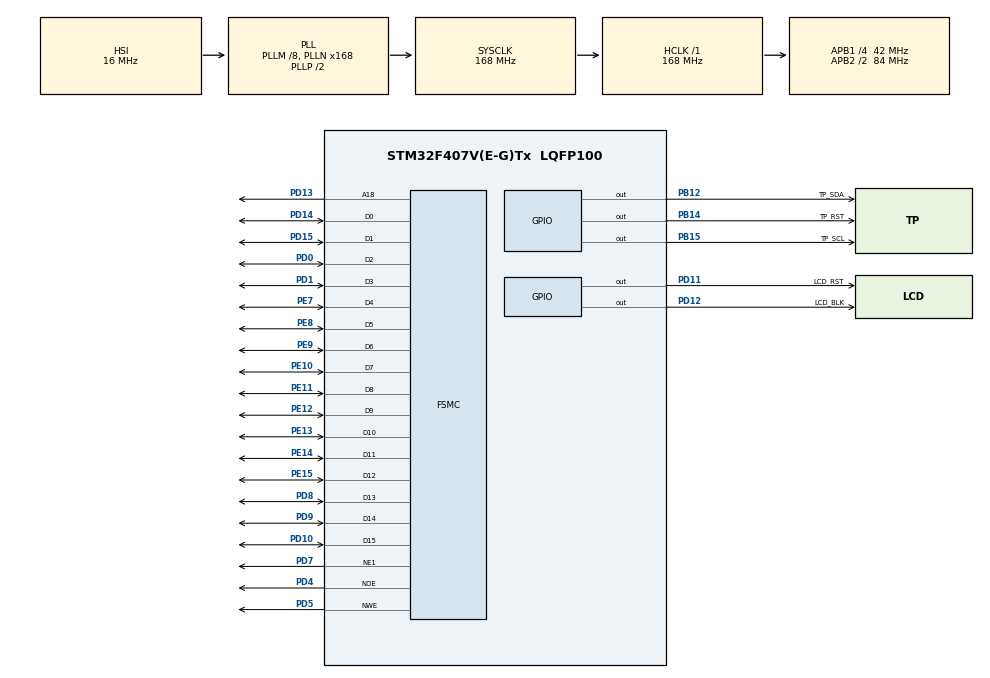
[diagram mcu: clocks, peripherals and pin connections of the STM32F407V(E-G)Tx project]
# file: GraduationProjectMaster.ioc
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Dma.MEMTOMEM.0.Direction=DMA_MEMORY_TO_MEMORY
Dma.MEMTOMEM.0.FIFOMode=DMA_FIFOMODE_ENABLE
Dma.MEMTOMEM.0.FIFOThreshold=DMA_FIFO_THRESHOLD_FULL
Dma.MEMTOMEM.0.Instance=DMA2_Stream0
Dma.MEMTOMEM.0.MemBurst=DMA_MBURST_INC8
Dma.MEMTOMEM.0.MemDataAlignment=DMA_MDATAALIGN_HALFWORD
Dma.MEMTOMEM.0.MemInc=DMA_MINC_DISABLE
Dma.MEMTOMEM.0.Mode=DMA_NORMAL
Dma.MEMTOMEM.0.PeriphBurst=DMA_PBURST_INC8
Dma.MEMTOMEM.0.PeriphDataAlignment=DMA_PDATAALIGN_HALFWORD
Dma.MEMTOMEM.0.PeriphInc=DMA_PINC_ENABLE
Dma.MEMTOMEM.0.Priority=DMA_PRIORITY_LOW
Dma.Request0=MEMTOMEM
FREERTOS.Tasks01=defaultTask,24,512,StartDefaultTask,Default,NULL,Dynamic,NULL,NULL
FSMC.AddressSetupTime1=15
FSMC.BusTurnAroundDuration1=0
FSMC.DataSetupTime1=60
FSMC.ExtendedAddressSetupTime1=9
FSMC.ExtendedBusTurnAroundDuration1=0
FSMC.ExtendedDataSetupTime1=8
FSMC.ExtendedMode1=FSMC_EXTENDED_MODE_ENABLE
Mcu.Family=STM32F4
Mcu.Name=STM32F407V(E-G)Tx
Mcu.Package=LQFP100
NVIC.PriorityGroup=NVIC_PRIORITYGROUP_4
NVIC.TIM8_TRG_COM_TIM14_IRQn=true\:15\:0\:false\:false\:true\:false\:false\:true\:true
NVIC.TimeBase=TIM8_TRG_COM_TIM14_IRQn
NVIC.TimeBaseIP=TIM14
PA13.Mode=Serial_Wire
PA13.Signal=SYS_JTMS-SWDIO
PA14.Mode=Serial_Wire
PA14.Signal=SYS_JTCK-SWCLK
PB12.GPIO_Label=TP_SDA
PB12.GPIO_ModeDefaultOutputPP=GPIO_MODE_OUTPUT_PP
PB12.GPIO_PuPd=GPIO_NOPULL
PB12.GPIO_Speed=GPIO_SPEED_FREQ_VERY_HIGH
PB12.Signal=GPIO_Output
PB14.GPIO_Label=TP_RST
PB14.GPIO_Speed=GPIO_SPEED_FREQ_VERY_HIGH
PB14.Signal=GPIO_Output
PB15.GPIO_Label=TP_SCL
PB15.GPIO_Speed=GPIO_SPEED_FREQ_VERY_HIGH
PB15.Signal=GPIO_Output
PD0.Mode=16b-d1
PD0.Signal=FSMC_D2
PD1.Mode=16b-d1
PD1.Signal=FSMC_D3
PD10.Mode=16b-d1
PD10.Signal=FSMC_D15
PD11.GPIO_Label=LCD_RST
PD11.GPIO_Speed=GPIO_SPEED_FREQ_VERY_HIGH
PD11.Signal=GPIO_Output
PD12.GPIO_Label=LCD_BLK
PD12.GPIO_Speed=GPIO_SPEED_FREQ_VERY_HIGH
PD12.Signal=GPIO_Output
PD13.Mode=A18_1
PD13.Signal=FSMC_A18
PD14.Mode=16b-d1
PD14.Signal=FSMC_D0
PD15.Mode=16b-d1
PD15.Signal=FSMC_D1
PD4.Mode=Lcd1
PD4.Signal=FSMC_NOE
PD5.Mode=Lcd1
PD5.Signal=FSMC_NWE
PD7.Mode=NorPsramChipSelect1_1
PD7.Signal=FSMC_NE1
PD8.Mode=16b-d1
PD8.Signal=FSMC_D13
PD9.Mode=16b-d1
PD9.Signal=FSMC_D14
PE10.Mode=16b-d1
PE10.Signal=FSMC_D7
PE11.Mode=16b-d1
PE11.Signal=FSMC_D8
PE12.Mode=16b-d1
PE12.Signal=FSMC_D9
PE13.Mode=16b-d1
PE13.Signal=FSMC_D10
PE14.Mode=16b-d1
PE14.Signal=FSMC_D11
PE15.Mode=16b-d1
PE15.Signal=FSMC_D12
PE7.Mode=16b-d1
PE7.Signal=FSMC_D4
PE8.Mode=16b-d1
PE8.Signal=FSMC_D5
PE9.Mode=16b-d1
PE9.Signal=FSMC_D6
PH0-OSC_IN.Mode=HSE-External-Oscillator
PH0-OSC_IN.Signal=RCC_OSC_IN
PH1-OSC_OUT.Mode=HSE-External-Oscillator
PH1-OSC_OUT.Signal=RCC_OSC_OUT
ProjectManager.HeapSize=0x200
ProjectManager.StackSize=0x400
ProjectManager.TargetToolchain=CMake
RCC.48MHZClocksFreq_Value=84000000
RCC.AHBFreq_Value=168000000
RCC.APB1CLKDivider=RCC_HCLK_DIV4
RCC.APB1Freq_Value=42000000
RCC.APB1TimFreq_Value=84000000
RCC.APB2CLKDivider=RCC_HCLK_DIV2
RCC.APB2Freq_Value=84000000
RCC.APB2TimFreq_Value=168000000
RCC.CortexFreq_Value=168000000
RCC.HCLKFreq_Value=168000000
RCC.HSE_VALUE=25000000
RCC.HSI_VALUE=16000000
RCC.LSE_VALUE=32768
RCC.PLLM=8
RCC.PLLN=168
RCC.SYSCLKFreq_VALUE=168000000
RCC.SYSCLKSource=RCC_SYSCLKSOURCE_PLLCLK
RCC.VCOOutputFreq_Value=336000000
VP_FREERTOS_VS_CMSIS_V2.Mode=CMSIS_V2
VP_SYS_VS_tim14.Mode=TIM14
board=custom

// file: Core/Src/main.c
/* USER CODE BEGIN Header */
/**
  ******************************************************************************
  * @file           : main.c
  * @brief          : Main program body
  ******************************************************************************
  * @attention
  *
  * Copyright (c) 2025 STMicroelectronics.
  * All rights reserved.
  *
  * This software is licensed under terms that can be found in the LICENSE file
  * in the root directory of this software component.
  * If no LICENSE file comes with this software, it is provided AS-IS.
  *
  ******************************************************************************
  */
/* USER CODE END Header */
#include "main.h"
#include "cmsis_os.h"
#include "dma.h"
#include "gpio.h"
#include "fsmc.h"

/* USER CODE BEGIN Includes */

#include "lvgl.h"

/* USER CODE END Includes */

void SystemClock_Config(void);
void MX_FREERTOS_Init(void);

int main(void)
{

  /* MCU Configuration--------------------------------------------------------*/

  /* Reset of all peripherals, Initializes the Flash interface and the Systick. */
  HAL_Init();

  /* Configure the system clock */
  SystemClock_Config();

  /* Initialize all configured peripherals */
  MX_GPIO_Init();
  MX_DMA_Init();
  MX_FSMC_Init();

  /* Init scheduler */
  osKernelInitialize();  /* Call init function for freertos objects (in cmsis_os2.c) */
  MX_FREERTOS_Init();

  /* Start scheduler */
  osKernelStart();

  /* We should never get here as control is now taken by the scheduler */

  /* Infinite loop */
  while (1)
  {

  }
}

void SystemClock_Config(void)
{
  RCC_OscInitTypeDef RCC_OscInitStruct = {0};
  RCC_ClkInitTypeDef RCC_ClkInitStruct = {0};

  /** Configure the main internal regulator output voltage
  */
  __HAL_RCC_PWR_CLK_ENABLE();
  __HAL_PWR_VOLTAGESCALING_CONFIG(PWR_REGULATOR_VOLTAGE_SCALE1);

  /** Initializes the RCC Oscillators according to the specified parameters
  * in the RCC_OscInitTypeDef structure.
  */
  RCC_OscInitStruct.OscillatorType = RCC_OSCILLATORTYPE_HSI;
  RCC_OscInitStruct.HSIState = RCC_HSI_ON;
  RCC_OscInitStruct.HSICalibrationValue = RCC_HSICALIBRATION_DEFAULT;
  RCC_OscInitStruct.PLL.PLLState = RCC_PLL_ON;
  RCC_OscInitStruct.PLL.PLLSource = RCC_PLLSOURCE_HSI;
  RCC_OscInitStruct.PLL.PLLM = 8;
  RCC_OscInitStruct.PLL.PLLN = 168;
  RCC_OscInitStruct.PLL.PLLP = RCC_PLLP_DIV2;
  RCC_OscInitStruct.PLL.PLLQ = 4;
  if (HAL_RCC_OscConfig(&RCC_OscInitStruct) != HAL_OK)
  {
    Error_Handler();
  }

  /** Initializes the CPU, AHB and APB buses clocks
  */
  RCC_ClkInitStruct.ClockType = RCC_CLOCKTYPE_HCLK|RCC_CLOCKTYPE_SYSCLK
                              |RCC_CLOCKTYPE_PCLK1|RCC_CLOCKTYPE_PCLK2;
  RCC_ClkInitStruct.SYSCLKSource = RCC_SYSCLKSOURCE_PLLCLK;
  RCC_ClkInitStruct.AHBCLKDivider = RCC_SYSCLK_DIV1;
  RCC_ClkInitStruct.APB1CLKDivider = RCC_HCLK_DIV4;
  RCC_ClkInitStruct.APB2CLKDivider = RCC_HCLK_DIV2;

  if (HAL_RCC_ClockConfig(&RCC_ClkInitStruct, FLASH_LATENCY_5) != HAL_OK)
  {
    Error_Handler();
  }
}

void HAL_TIM_PeriodElapsedCallback(TIM_HandleTypeDef *htim)
{
  if (htim->Instance == TIM14)
  {
    HAL_IncTick();
  }
  /* USER CODE BEGIN Callback 1 */

  if (htim->Instance == TIM14)
  {
    lv_tick_inc(1);
  }

  /* USER CODE END Callback 1 */
}

void Error_Handler(void)
{
  __disable_irq();
  while (1)
  {
  }
}

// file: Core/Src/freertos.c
/* USER CODE BEGIN Header */
/**
  ******************************************************************************
  * File Name          : freertos.c
  * Description        : Code for freertos applications
  ******************************************************************************
  * @attention
  *
  * Copyright (c) 2025 STMicroelectronics.
  * All rights reserved.
  *
  * This software is licensed under terms that can be found in the LICENSE file
  * in the root directory of this software component.
  * If no LICENSE file comes with this software, it is provided AS-IS.
  *
  ******************************************************************************
  */
/* USER CODE END Header */

#include "FreeRTOS.h"
#include "task.h"
#include "main.h"
#include "cmsis_os.h"

/* USER CODE BEGIN Includes */

#include "lvgl.h"
#include "lv_port_disp.h"
#include "lv_port_indev.h"
#include "demos/widgets/lv_demo_widgets.h"

#include "Application.h"

/* USER CODE END Includes */

/* Definitions for defaultTask */
osThreadId_t defaultTaskHandle;
const osThreadAttr_t defaultTask_attributes = {
    .name = "defaultTask",
    .stack_size = 512 * 4,
    .priority = (osPriority_t) osPriorityNormal,
};

void StartDefaultTask(void *argument);

void MX_FREERTOS_Init(void); /* (MISRA C 2004 rule 8.1) */

void MX_FREERTOS_Init(void)
{

  /* Create the thread(s) */
  /* creation of defaultTask */
  defaultTaskHandle = osThreadNew(StartDefaultTask, NULL, &defaultTask_attributes);

}

void StartDefaultTask(void *argument)
{
  /* USER CODE BEGIN StartDefaultTask */

  LCD_Init(&LCD);
  LCD_Clear(&LCD);
  LCD_Printf(&LCD, 0, 0, "Hello LCD");

  Touch_Init(&Touch);

  // lv_init();
  // lv_port_disp_init();
  // lv_port_indev_init();

  // lv_demo_widgets();

  // static lv_style_t style;
  // lv_style_init(&style);
  // lv_style_set_radius(&style, 5);

  // /*Make a gradient*/
  // lv_style_set_width(&style, 150);
  // lv_style_set_height(&style, LV_SIZE_CONTENT);

  // lv_style_set_pad_ver(&style, 20);
  // lv_style_set_pad_left(&style, 5);

  // lv_style_set_x(&style, lv_pct(50));
  // lv_style_set_y(&style, 80);

  // /*Create an object with the new style*/
  // lv_obj_t *obj = lv_obj_create(lv_scr_act());
  // lv_obj_add_style(obj, &style, 0);

  // lv_obj_t *label = lv_label_create(obj);
  // lv_label_set_text(label, "Hello");

  /* Infinite loop */
  for (;;)
  {
    // lv_timer_handler();

    Touch_Scan(&Touch, &LCD);
    for (uint8_t i = 0; i < 5; i++)
    {
      if (Touch.TouchFlag & (1 << i))
      {
        LCD_DrawPoint(&LCD, Touch.X[i], Touch.Y[i]);
      }
    }

    osDelay(1);
  }
  /* USER CODE END StartDefaultTask */
}
